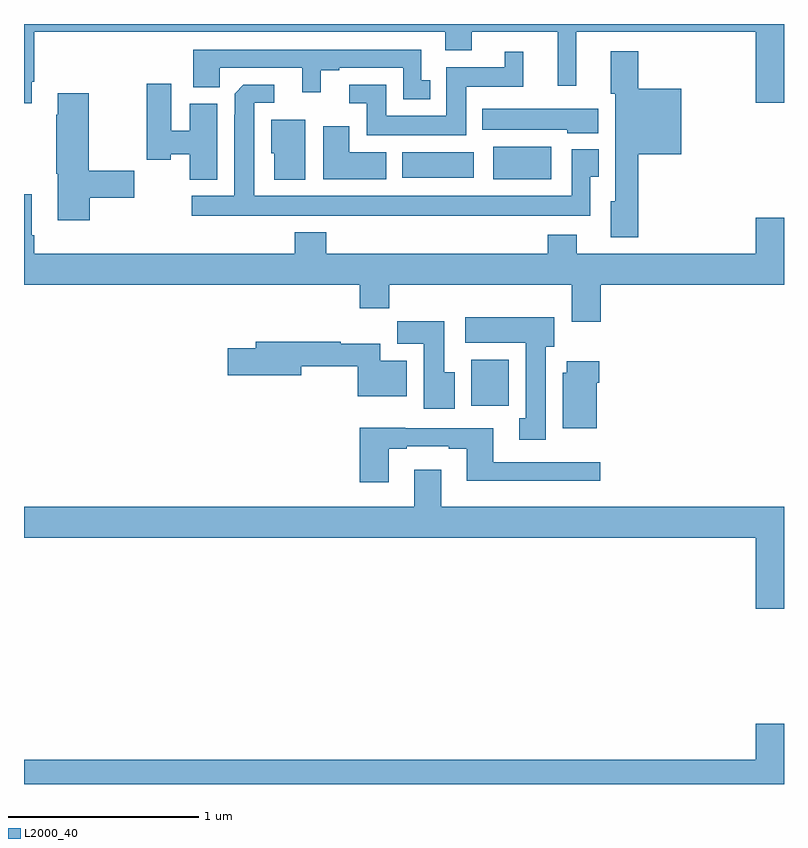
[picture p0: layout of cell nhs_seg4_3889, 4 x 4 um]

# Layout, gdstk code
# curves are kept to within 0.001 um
import gdstk
lib = gdstk.Library(unit=1e-6, precision=1e-09)
def R(c, l, rs):  # rectangles x0, y0, x1, y1
    for r in rs: c.add(gdstk.rectangle(r[:2], r[2:], *l))
def P(c, l, *ps):  # polygons
    for p in ps: c.add(gdstk.Polygon(p, *l))
L2000_40 = (2000, 40)

nhs_seg4_3889 = lib.new_cell('nhs_seg4_3889')
R(nhs_seg4_3889, L2000_40, [(319.355,754.892,319.552,755.134), (319.469,756.083,319.774,756.253), (318.992,756.092,319.366,756.226)])
P(nhs_seg4_3889, L2000_40, [(317.041,756.595),(317.054,756.595),(317.054,756.86),(319.217,756.86),(319.217,756.761),(319.357,756.761),(319.357,756.86),(319.808,756.86),(319.808,756.576),(319.907,756.576),(319.907,756.86),(320.852,756.86),(320.852,756.486),(321,756.486),(321,756.9),(317,756.9),(317,756.483),(317.041,756.483)],
  [(319.138,756.603),(319.092,756.603),(319.092,756.765),(317.891,756.765),(317.891,756.566),(318.03,756.566),(318.03,756.669),(318.464,756.669),(318.464,756.54),(318.562,756.54),(318.562,756.657),(318.658,756.657),(318.658,756.669),(318.996,756.669),(318.996,756.503),(319.138,756.503)],
  [(320.234,756.215),(320.458,756.215),(320.458,756.559),(320.234,756.559),(320.234,756.757),(320.087,756.757),(320.087,756.534),(320.111,756.534),(320.111,755.967),(320.087,755.967),(320.087,755.777),(320.234,755.777)],
  [(319.327,756.569),(319.628,756.569),(319.628,756.754),(319.529,756.754),(319.529,756.673),(319.223,756.673),(319.223,756.418),(318.907,756.418),(318.907,756.579),(318.711,756.579),(318.711,756.483),(318.803,756.483),(318.803,756.314),(319.327,756.314)],
  [(318.016,756.481),(317.873,756.481),(317.873,756.337),(317.776,756.337),(317.776,756.586),(317.647,756.586),(317.647,756.185),(317.772,756.185),(317.772,756.215),(317.873,756.215),(317.873,756.08),(318.016,756.08)],
  [(319.981,756.097),(320.026,756.097),(320.026,756.241),(319.884,756.241),(319.884,755.995),(318.211,755.995),(318.211,756.486),(318.316,756.486),(318.316,756.579),(318.154,756.579),(318.108,756.533),(318.107,755.995),(317.883,755.995),(317.883,755.891),(319.981,755.891)],
  [(317.345,755.986),(317.581,755.986),(317.581,756.128),(317.34,756.128),(317.34,756.535),(317.177,756.535),(317.177,756.422),(317.17,756.422),(317.17,756.111),(317.177,756.111),(317.177,755.868),(317.345,755.868)],
  [(320.023,756.454),(319.412,756.454),(319.412,756.344),(319.86,756.344),(319.86,756.326),(320.023,756.326)],
  [(318.481,756.397),(318.302,756.397),(318.302,756.219),(318.317,756.219),(318.317,756.08),(318.481,756.08)],
  [(318.907,756.226),(318.712,756.226),(318.712,756.361),(318.575,756.361),(318.575,756.083),(318.907,756.083)],
  [(320.036,755.528),(321,755.528),(321,755.881),(320.852,755.881),(320.852,755.692),(319.909,755.692),(319.909,755.791),(319.757,755.791),(319.757,755.692),(318.59,755.692),(318.59,755.803),(318.425,755.803),(318.425,755.692),(317.054,755.692),(317.054,755.788),(317.041,755.788),(317.041,756.004),(317,756.004),(317,755.528),(318.767,755.528),(318.767,755.404),(318.923,755.404),(318.923,755.528),(319.883,755.528),(319.883,755.334),(320.036,755.334)],
  [(319.747,755.202),(319.792,755.202),(319.792,755.356),(319.323,755.356),(319.323,755.222),(319.64,755.222),(319.64,754.826),(319.607,754.826),(319.607,754.713),(319.747,754.713)],
  [(319.267,755.068),(319.213,755.068),(319.213,755.335),(318.964,755.335),(318.964,755.216),(319.103,755.216),(319.103,754.875),(319.267,754.875)],
  [(319.015,755.128),(318.874,755.128),(318.874,755.216),(318.668,755.216),(318.668,755.227),(318.221,755.227),(318.221,755.193),(318.072,755.193),(318.072,755.051),(318.46,755.051),(318.46,755.098),(318.757,755.098),(318.757,754.94),(319.015,754.94)],
  [(320.014,755.012),(320.027,755.012),(320.027,755.125),(319.856,755.125),(319.856,755.064),(319.835,755.064),(319.835,754.772),(320.014,754.772)],
  [(318.919,754.665),(319.015,754.665),(319.015,754.677),(319.235,754.677),(319.235,754.665),(319.331,754.665),(319.331,754.496),(320.032,754.496),(320.032,754.593),(319.471,754.593),(319.471,754.773),(319.007,754.773),(319.007,754.774),(318.767,754.774),(318.767,754.488),(318.919,754.488)],
  [(321,754.36),(319.195,754.36),(319.195,754.555),(319.055,754.555),(319.055,754.36),(317,754.36),(317,754.196),(320.852,754.196),(320.852,753.822),(321,753.822)],
  [(321,753.217),(320.852,753.217),(320.852,753.028),(317,753.028),(317,752.9),(321,752.9)])

lib.write_gds('nhs_seg4_3889.gds')
